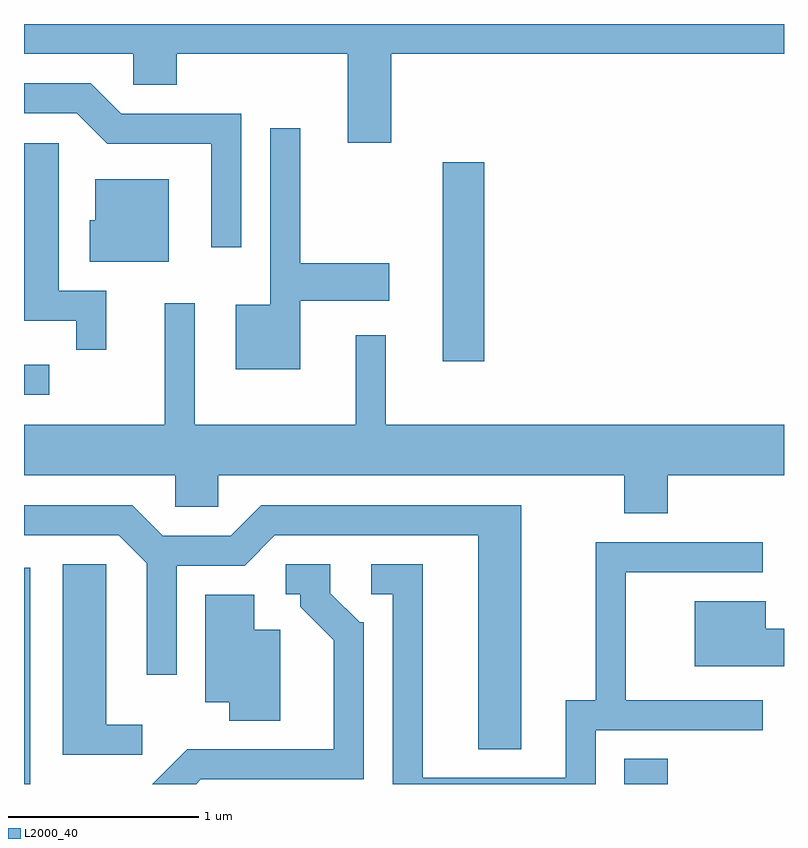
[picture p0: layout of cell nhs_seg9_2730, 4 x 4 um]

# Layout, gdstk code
import gdstk
lib = gdstk.Library(unit=1e-6, precision=1e-09)
def R(c, l, rs):  # rectangles x0, y0, x1, y1
    for r in rs: c.add(gdstk.rectangle(r[:2], r[2:], *l))
def P(c, l, *ps):  # polygons
    for p in ps: c.add(gdstk.Polygon(p, *l))
L2000_40 = (2000, 40)

nhs_seg9_2730 = lib.new_cell('nhs_seg9_2730')
R(nhs_seg9_2730, L2000_40, [(265.611,1972.432,265.644,1973.569), (268.771,1972.432,268.999,1972.564), (265.611,1974.481,265.743,1974.639), (267.816,1974.656,268.034,1975.704)])
P(nhs_seg9_2730, L2000_40, [(265.611,1976.276),(266.186,1976.276),(266.186,1976.111),(266.414,1976.111),(266.414,1976.276),(267.316,1976.276),(267.316,1975.806),(267.544,1975.806),(267.544,1976.276),(269.611,1976.276),(269.611,1976.432),(265.611,1976.432)],
  [(266.754,1975.959),(266.122,1975.959),(265.962,1976.119),(265.611,1976.119),(265.611,1975.961),(265.889,1975.961),(266.049,1975.801),(266.596,1975.801),(266.596,1975.258),(266.754,1975.258)],
  [(267.064,1974.976),(267.534,1974.976),(267.534,1975.174),(267.064,1975.174),(267.064,1975.883),(266.906,1975.883),(266.906,1974.954),(266.726,1974.954),(266.726,1974.616),(267.064,1974.616)],
  [(266.044,1975.029),(265.794,1975.029),(265.794,1975.804),(265.611,1975.804),(265.611,1974.871),(265.886,1974.871),(265.886,1974.718),(266.044,1974.718)],
  [(266.374,1975.614),(265.986,1975.614),(265.986,1975.399),(265.956,1975.399),(265.956,1975.181),(266.374,1975.181)],
  [(268.999,1974.056),(269.611,1974.056),(269.611,1974.324),(267.514,1974.324),(267.514,1974.793),(267.356,1974.793),(267.356,1974.324),(266.509,1974.324),(266.509,1974.963),(266.351,1974.963),(266.351,1974.324),(265.611,1974.324),(265.611,1974.056),(266.406,1974.056),(266.406,1973.891),(266.634,1973.891),(266.634,1974.056),(268.771,1974.056),(268.771,1973.856),(268.999,1973.856)],
  [(268.229,1973.899),(266.859,1973.899),(266.699,1973.739),(266.342,1973.739),(266.182,1973.899),(265.611,1973.899),(265.611,1973.741),(266.109,1973.741),(266.256,1973.594),(266.256,1973.008),(266.414,1973.008),(266.414,1973.581),(266.772,1973.581),(266.932,1973.741),(268.001,1973.741),(268.001,1972.616),(268.229,1972.616)],
  [(268.619,1972.716),(269.498,1972.716),(269.498,1972.874),(268.779,1972.874),(268.779,1973.546),(269.498,1973.546),(269.498,1973.704),(268.621,1973.704),(268.621,1972.874),(268.461,1972.874),(268.461,1972.464),(267.709,1972.464),(267.709,1973.589),(267.438,1973.589),(267.438,1973.431),(267.551,1973.431),(267.551,1972.432),(268.619,1972.432)],
  [(266.542,1972.456),(267.399,1972.456),(267.399,1973.284),(267.377,1973.284),(267.224,1973.437),(267.224,1973.589),(266.988,1973.589),(266.988,1973.431),(267.066,1973.431),(267.066,1973.364),(267.241,1973.189),(267.241,1972.614),(266.469,1972.614),(266.287,1972.432),(266.518,1972.432)],
  [(266.233,1972.744),(266.044,1972.744),(266.044,1973.589),(265.816,1973.589),(265.816,1972.586),(266.233,1972.586)],
  [(266.959,1973.244),(266.824,1973.244),(266.824,1973.429),(266.566,1973.429),(266.566,1972.861),(266.691,1972.861),(266.691,1972.766),(266.959,1972.766)],
  [(269.611,1973.249),(269.514,1973.249),(269.514,1973.394),(269.141,1973.394),(269.141,1973.051),(269.611,1973.051)])

lib.write_gds('nhs_seg9_2730.gds')
